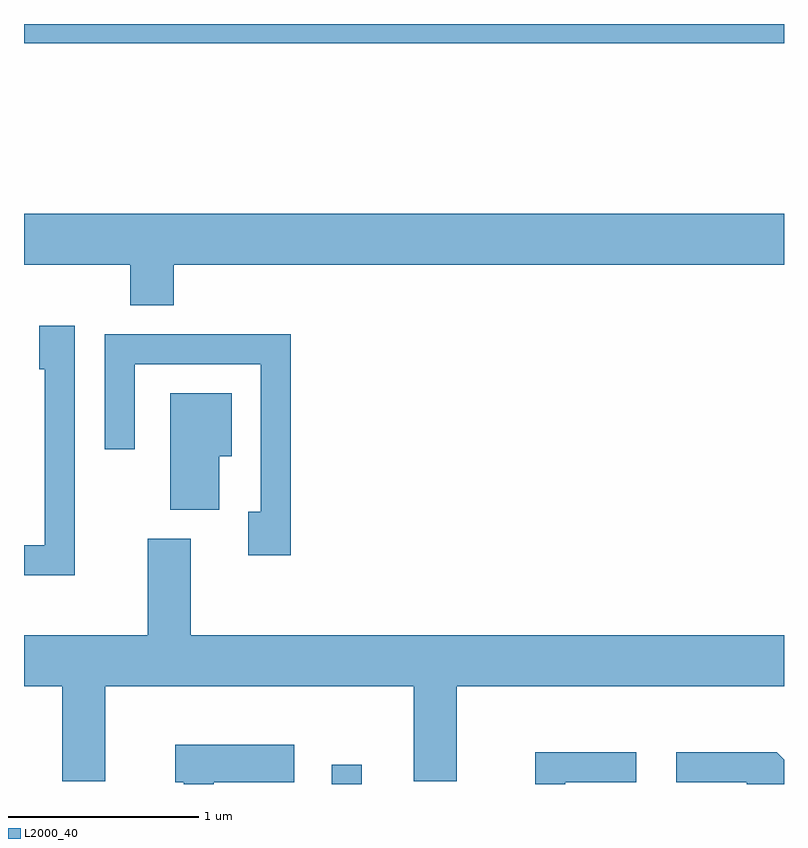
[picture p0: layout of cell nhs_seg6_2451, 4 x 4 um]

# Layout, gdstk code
import gdstk
lib = gdstk.Library(unit=1e-6, precision=1e-09)
def R(c, l, rs):  # rectangles x0, y0, x1, y1
    for r in rs: c.add(gdstk.rectangle(r[:2], r[2:], *l))
def P(c, l, *ps):  # polygons
    for p in ps: c.add(gdstk.Polygon(p, *l))
L2000_40 = (2000, 40)

nhs_seg6_2451 = lib.new_cell('nhs_seg6_2451')
R(nhs_seg6_2451, L2000_40, [(261.231,1576.162,261.389,1576.263), (259.611,1580.061,263.611,1580.162)])
P(nhs_seg6_2451, L2000_40, [(260.399,1578.896),(263.611,1578.896),(263.611,1579.164),(259.611,1579.164),(259.611,1578.896),(260.171,1578.896),(260.171,1578.681),(260.399,1578.681)],
  [(259.879,1578.574),(259.691,1578.574),(259.691,1578.346),(259.721,1578.346),(259.721,1577.419),(259.611,1577.419),(259.611,1577.261),(259.879,1577.261)],
  [(261.014,1578.529),(260.036,1578.529),(260.036,1577.923),(260.194,1577.923),(260.194,1578.371),(260.856,1578.371),(260.856,1577.594),(260.791,1577.594),(260.791,1577.366),(261.014,1577.366)],
  [(260.639,1577.886),(260.704,1577.886),(260.704,1578.219),(260.381,1578.219),(260.381,1577.606),(260.639,1577.606)],
  [(260.039,1576.676),(261.661,1576.676),(261.661,1576.176),(261.889,1576.176),(261.889,1576.676),(263.611,1576.676),(263.611,1576.944),(260.489,1576.944),(260.489,1577.454),(260.261,1577.454),(260.261,1576.944),(259.611,1576.944),(259.611,1576.676),(259.811,1576.676),(259.811,1576.176),(260.039,1576.176)],
  [(260.609,1576.171),(261.034,1576.171),(261.034,1576.369),(260.406,1576.369),(260.406,1576.171),(260.451,1576.171),(260.451,1576.162),(260.609,1576.162)],
  [(262.459,1576.171),(262.833,1576.171),(262.833,1576.329),(262.301,1576.329),(262.301,1576.162),(262.459,1576.162)],
  [(263.611,1576.29),(263.572,1576.329),(263.043,1576.329),(263.043,1576.171),(263.416,1576.171),(263.416,1576.162),(263.611,1576.162)])

lib.write_gds('nhs_seg6_2451.gds')
